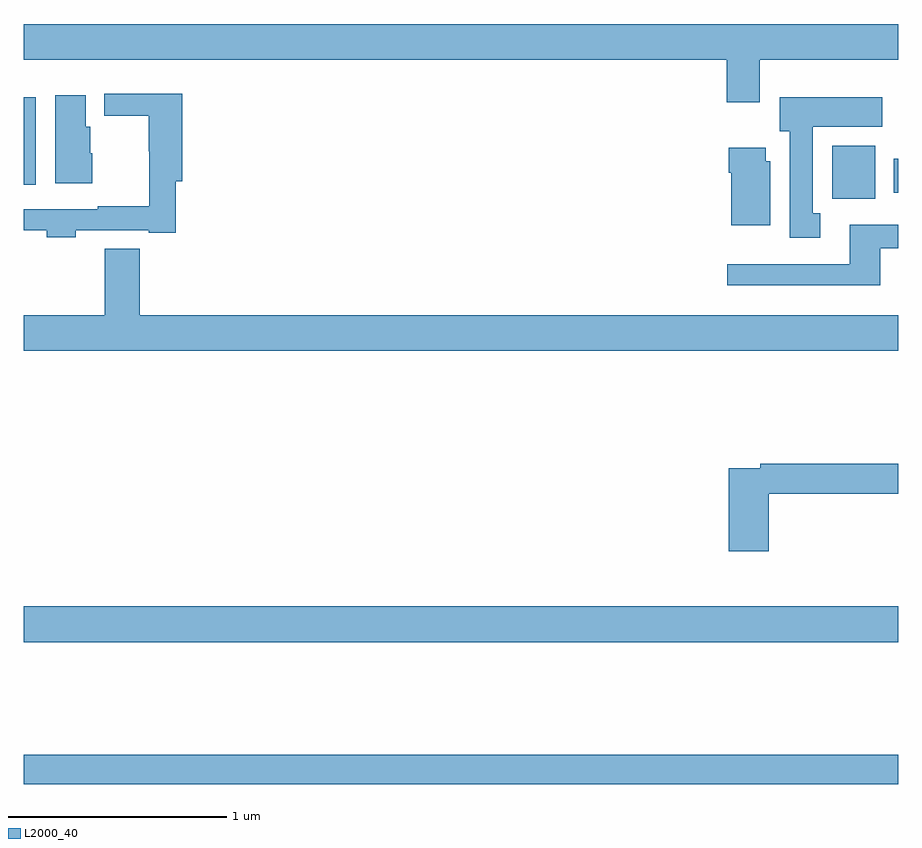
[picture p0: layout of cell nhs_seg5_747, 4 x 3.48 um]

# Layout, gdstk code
import gdstk
lib = gdstk.Library(unit=1e-6, precision=1e-09)
def R(c, l, rs):  # rectangles x0, y0, x1, y1
    for r in rs: c.add(gdstk.rectangle(r[:2], r[2:], *l))
def P(c, l, *ps):  # polygons
    for p in ps: c.add(gdstk.Polygon(p, *l))
L2000_40 = (2000, 40)

nhs_seg5_747 = lib.new_cell('nhs_seg5_747')
R(nhs_seg5_747, L2000_40, [(159,834.799,163,834.932), (159,835.448,163,835.612), (162.698,837.476,162.895,837.718), (162.98,837.504,163,837.66), (159,837.54,159.055,837.94)])
P(nhs_seg5_747, L2000_40, [(162.367,838.112),(163,838.112),(163,838.276),(159,838.276),(159,838.112),(162.215,838.112),(162.215,837.918),(162.367,837.918)],
  [(159.237,837.333),(159.572,837.333),(159.572,837.321),(159.695,837.321),(159.695,837.557),(159.725,837.557),(159.725,837.958),(159.369,837.958),(159.369,837.856),(159.572,837.856),(159.572,837.693),(159.574,837.693),(159.574,837.442),(159.337,837.442),(159.337,837.429),(159,837.429),(159,837.333),(159.105,837.333),(159.105,837.301),(159.237,837.301)],
  [(159.313,837.684),(159.304,837.684),(159.304,837.807),(159.283,837.807),(159.283,837.949),(159.143,837.949),(159.143,837.548),(159.313,837.548)],
  [(162.643,837.41),(162.61,837.41),(162.61,837.806),(162.928,837.806),(162.928,837.94),(162.458,837.94),(162.458,837.786),(162.503,837.786),(162.503,837.297),(162.643,837.297)],
  [(162.415,837.648),(162.394,837.648),(162.394,837.709),(162.224,837.709),(162.224,837.596),(162.236,837.596),(162.236,837.356),(162.415,837.356)],
  [(162.919,837.249),(163,837.249),(163,837.358),(162.779,837.358),(162.779,837.177),(162.219,837.177),(162.219,837.08),(162.919,837.08)],
  [(163,836.944),(159.53,836.944),(159.53,837.248),(159.37,837.248),(159.37,836.944),(159,836.944),(159,836.78),(163,836.78)],
  [(162.407,836.128),(163,836.128),(163,836.264),(162.37,836.264),(162.37,836.244),(162.224,836.244),(162.224,835.863),(162.407,835.863)])

lib.write_gds('nhs_seg5_747.gds')
